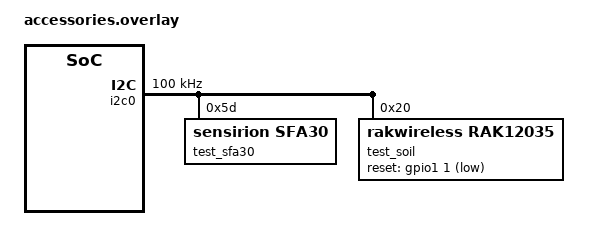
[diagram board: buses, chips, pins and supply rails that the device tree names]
/* Build-only external accessory fixture. The reset pin is a test assignment. */
/ {
    aliases {
        zt-sfa30 = &test_sfa30;
        zt-rak12035 = &test_soil;
    };
};
&i2c0 {
    status = "okay";
    clock-frequency = <100000>;
    test_sfa30: sfa30@5d { compatible = "sensirion,sfa30"; reg = <0x5d>; };
    test_soil: soil@20 {
        compatible = "rakwireless,rak12035";
        reg = <0x20>;
        reset-gpios = <&gpio1 1 GPIO_ACTIVE_LOW>;
    };
};
